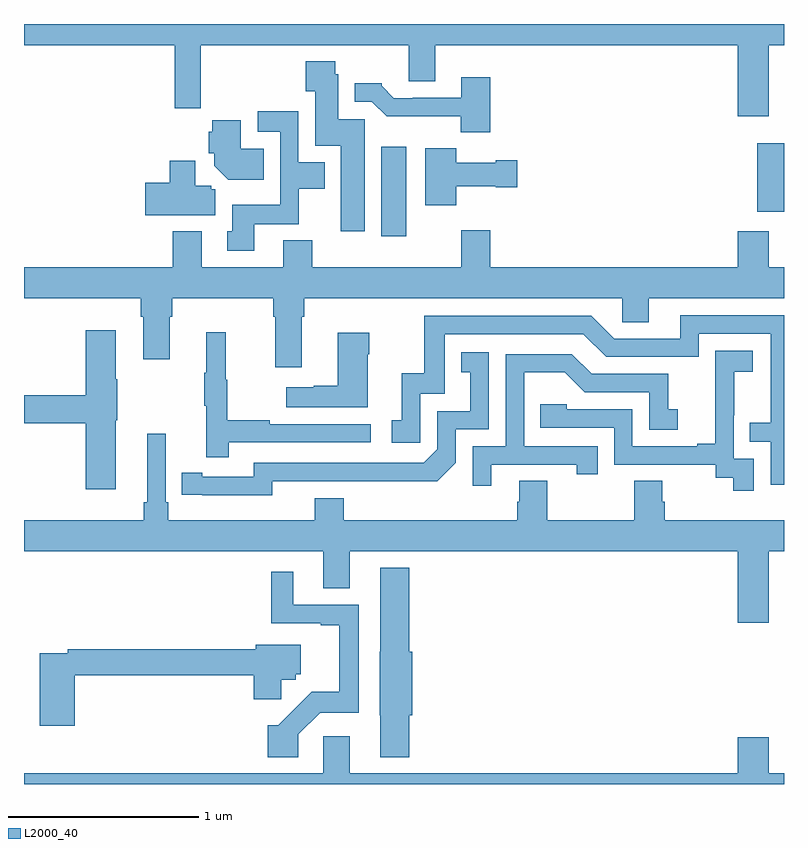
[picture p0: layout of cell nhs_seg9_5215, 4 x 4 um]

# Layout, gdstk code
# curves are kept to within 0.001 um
import gdstk
lib = gdstk.Library(unit=1e-6, precision=1e-09)
def R(c, l, rs):  # rectangles x0, y0, x1, y1
    for r in rs: c.add(gdstk.rectangle(r[:2], r[2:], *l))
def P(c, l, *ps):  # polygons
    for p in ps: c.add(gdstk.Polygon(p, *l))
L2000_40 = (2000, 40)

nhs_seg9_5215 = lib.new_cell('nhs_seg9_5215')
R(nhs_seg9_5215, L2000_40, [(414.881,1227.384,415.012,1227.853), (416.858,1227.513,417,1227.872)])
P(nhs_seg9_5215, L2000_40, [(416.92,1228.388),(417,1228.388),(417,1228.5),(413,1228.5),(413,1228.388),(413.794,1228.388),(413.794,1228.056),(413.93,1228.056),(413.93,1228.388),(415.025,1228.388),(415.025,1228.198),(415.165,1228.198),(415.165,1228.388),(416.756,1228.388),(416.756,1228.014),(416.92,1228.014)],
  [(414.793,1227.999),(414.655,1227.999),(414.655,1228.236),(414.639,1228.236),(414.639,1228.303),(414.482,1228.303),(414.482,1228.147),(414.533,1228.147),(414.533,1227.86),(414.668,1227.86),(414.668,1227.408),(414.793,1227.408)],
  [(415.454,1228.219),(415.301,1228.219),(415.301,1228.113),(415.045,1228.113),(415.045,1228.11),(414.946,1228.11),(414.882,1228.174),(414.882,1228.189),(414.74,1228.189),(414.74,1228.092),(414.831,1228.092),(414.91,1228.014),(415.299,1228.014),(415.299,1227.929),(415.454,1227.929)],
  [(414.211,1227.446),(414.447,1227.446),(414.447,1227.632),(414.583,1227.632),(414.583,1227.772),(414.444,1227.772),(414.444,1228.042),(414.231,1228.042),(414.231,1227.933),(414.348,1227.933),(414.348,1227.55),(414.095,1227.55),(414.095,1227.408),(414.071,1227.408),(414.071,1227.306),(414.211,1227.306)],
  [(414.263,1227.844),(414.142,1227.844),(414.142,1227.994),(413.99,1227.994),(413.99,1227.933),(413.973,1227.933),(413.973,1227.819),(414.002,1227.819),(414.002,1227.754),(414.076,1227.68),(414.263,1227.68)],
  [(415.276,1227.647),(415.484,1227.647),(415.484,1227.64),(415.597,1227.64),(415.597,1227.782),(415.484,1227.782),(415.484,1227.769),(415.274,1227.769),(415.274,1227.847),(415.112,1227.847),(415.112,1227.546),(415.276,1227.546)],
  [(414.006,1227.63),(413.985,1227.63),(413.985,1227.65),(413.901,1227.65),(413.901,1227.781),(413.768,1227.781),(413.768,1227.665),(413.637,1227.665),(413.637,1227.494),(414.006,1227.494)],
  [(414.463,1226.96),(414.476,1226.96),(414.476,1227.056),(416.148,1227.056),(416.148,1226.929),(416.287,1226.929),(416.287,1227.056),(417,1227.056),(417,1227.22),(416.92,1227.22),(416.92,1227.409),(416.756,1227.409),(416.756,1227.22),(415.454,1227.22),(415.454,1227.415),(415.301,1227.415),(415.301,1227.22),(414.518,1227.22),(414.518,1227.361),(414.365,1227.361),(414.365,1227.22),(413.935,1227.22),(413.935,1227.409),(413.783,1227.409),(413.783,1227.22),(413,1227.22),(413,1227.056),(413.615,1227.056),(413.615,1226.96),(413.627,1226.96),(413.627,1226.736),(413.767,1226.736),(413.767,1226.96),(413.78,1226.96),(413.78,1227.056),(414.311,1227.056),(414.311,1226.96),(414.323,1226.96),(414.323,1226.694),(414.463,1226.694)],
  [(417,1226.967),(416.453,1226.967),(416.453,1226.844),(416.106,1226.844),(415.986,1226.964),(415.107,1226.964),(415.107,1226.662),(414.989,1226.662),(414.989,1226.415),(414.936,1226.415),(414.936,1226.295),(415.086,1226.295),(415.086,1226.553),(415.215,1226.553),(415.215,1226.868),(415.944,1226.868),(416.064,1226.748),(416.55,1226.748),(416.55,1226.871),(416.931,1226.871),(416.931,1226.402),(416.821,1226.402),(416.821,1226.301),(416.931,1226.301),(416.931,1226.076),(417,1226.076)],
  [(413.482,1226.415),(413.49,1226.415),(413.49,1226.629),(413.482,1226.629),(413.482,1226.887),(413.324,1226.887),(413.324,1226.546),(413,1226.546),(413,1226.399),(413.324,1226.399),(413.324,1226.052),(413.482,1226.052)],
  [(414.077,1226.298),(414.826,1226.298),(414.826,1226.394),(414.293,1226.394),(414.293,1226.414),(414.07,1226.414),(414.07,1226.628),(414.062,1226.628),(414.062,1226.878),(413.96,1226.878),(413.96,1226.665),(413.949,1226.665),(413.949,1226.491),(413.96,1226.491),(413.96,1226.22),(414.077,1226.22)],
  [(414.808,1226.762),(414.816,1226.762),(414.816,1226.875),(414.65,1226.875),(414.65,1226.597),(414.524,1226.597),(414.524,1226.587),(414.381,1226.587),(414.381,1226.483),(414.808,1226.483)],
  [(416.841,1226.211),(416.736,1226.211),(416.736,1226.441),(416.738,1226.441),(416.738,1226.669),(416.836,1226.669),(416.836,1226.779),(416.638,1226.779),(416.638,1226.573),(416.639,1226.573),(416.639,1226.29),(416.543,1226.29),(416.543,1226.277),(416.202,1226.277),(416.202,1226.472),(415.857,1226.472),(415.857,1226.499),(415.717,1226.499),(415.717,1226.376),(416.106,1226.376),(416.106,1226.181),(416.64,1226.181),(416.64,1226.113),(416.733,1226.113),(416.733,1226.043),(416.841,1226.043)],
  [(414.306,1226.094),(415.174,1226.093),(415.272,1226.19),(415.272,1226.367),(415.446,1226.367),(415.446,1226.773),(415.3,1226.773),(415.3,1226.667),(415.349,1226.667),(415.349,1226.463),(415.176,1226.463),(415.176,1226.262),(415.104,1226.19),(414.21,1226.19),(414.21,1226.118),(413.938,1226.118),(413.938,1226.138),(413.83,1226.138),(413.83,1226.022),(414.306,1226.021)],
  [(415.459,1226.181),(415.91,1226.181),(415.91,1226.13),(416.021,1226.13),(416.021,1226.277),(415.632,1226.277),(415.632,1226.666),(415.846,1226.666),(415.95,1226.562),(416.292,1226.562),(416.292,1226.364),(416.44,1226.364),(416.44,1226.473),(416.391,1226.473),(416.391,1226.658),(415.987,1226.658),(415.882,1226.763),(415.536,1226.763),(415.536,1226.277),(415.362,1226.277),(415.362,1226.07),(415.459,1226.07)],
  [(416.92,1225.724),(417,1225.724),(417,1225.888),(416.372,1225.888),(416.372,1225.986),(416.359,1225.986),(416.359,1226.096),(416.212,1226.096),(416.212,1225.888),(415.755,1225.888),(415.755,1226.096),(415.607,1226.096),(415.607,1225.986),(415.595,1225.986),(415.595,1225.888),(414.683,1225.888),(414.683,1226.005),(414.53,1226.005),(414.53,1225.888),(413.759,1225.888),(413.759,1225.984),(413.745,1225.984),(413.745,1226.344),(413.648,1226.344),(413.648,1225.984),(413.629,1225.984),(413.629,1225.888),(413,1225.888),(413,1225.724),(414.575,1225.724),(414.575,1225.53),(414.715,1225.53),(414.715,1225.724),(416.756,1225.724),(416.756,1225.35),(416.92,1225.35)],
  [(415.028,1224.861),(415.043,1224.861),(415.043,1225.197),(415.028,1225.197),(415.028,1225.639),(414.875,1225.639),(414.875,1225.197),(414.872,1225.197),(414.872,1224.861),(414.875,1224.861),(414.875,1224.641),(415.028,1224.641)],
  [(414.444,1224.762),(414.558,1224.876),(414.763,1224.876),(414.763,1225.443),(414.418,1225.443),(414.418,1225.618),(414.301,1225.618),(414.301,1225.347),(414.563,1225.347),(414.563,1225.335),(414.659,1225.335),(414.659,1224.986),(414.515,1224.986),(414.337,1224.808),(414.284,1224.808),(414.284,1224.642),(414.444,1224.642)],
  [(413.267,1225.072),(414.209,1225.072),(414.209,1224.945),(414.353,1224.945),(414.353,1225.05),(414.429,1225.05),(414.429,1225.077),(414.457,1225.077),(414.457,1225.234),(414.221,1225.234),(414.221,1225.208),(413.23,1225.208),(413.23,1225.188),(413.084,1225.188),(413.084,1224.807),(413.267,1224.807)],
  [(417,1224.556),(416.92,1224.556),(416.92,1224.745),(416.756,1224.745),(416.756,1224.556),(414.715,1224.556),(414.715,1224.751),(414.576,1224.751),(414.576,1224.556),(413,1224.556),(413,1224.5),(417,1224.5)])

lib.write_gds('nhs_seg9_5215.gds')
